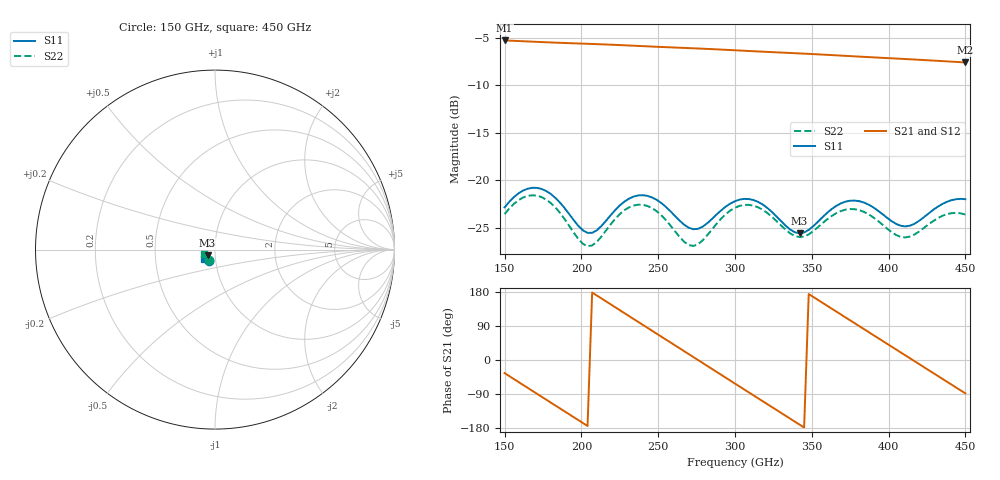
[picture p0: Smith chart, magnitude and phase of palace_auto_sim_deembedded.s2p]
! Created with skrf 1.11.0 (http://scikit-rf.org).
# GHz S DB R 50.0
!freq dBS11 angS11 dBS21 angS21 dBS12 angS12 dBS22 angS22
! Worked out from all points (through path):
!   101 points, 150 GHz to 450 GHz, reference 50 ohm
!   highest |S21| = -5.28 dB at 150 GHz (marker M1); lowest = -7.6 dB at 450 GHz (marker M2)
!   group delay of S21, straight-line fit = 7.16 ps
!   lowest |S11| = -25.6 dB at 342 GHz (marker M3), VSWR 1.11, Z = 45.9 - j2.96 ohm
!   |S11| at or under -10 dB: start of sweep to end of sweep
!   |S22| runs from -27.0 to -21.6 dB; largest |S21 - S12| = 6e-14
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150  -22.88 -117.9  -5.28 -34.6  -5.28 -34.6  -23.59 -121.1
162  -21.11 -126.9  -5.36 -65.7  -5.36 -65.7  -21.84 -131.6
174  -20.93 -140.9  -5.45 -96.7  -5.45 -96.7  -21.79 -146.9
186  -22.36 -152.0  -5.53 -127.6  -5.53 -127.6  -23.44 -158.9
201  -25.30 -146.9  -5.62 -166.4  -5.62 -166.4  -26.72 -152.3
216  -24.29 -128.0  -5.71 154.8  -5.71 154.8  -25.32 -132.1
231  -21.96 -133.1  -5.81 116.0  -5.81 116.0  -22.87 -139.6
252  -22.42 -151.5  -5.97 61.7  -5.97 61.7  -23.71 -160.2
264  -24.28 -152.5  -6.05 30.8  -6.05 30.8  -26.01 -160.0
276  -25.13 -140.2  -6.13 -0.2  -6.13 -0.2  -26.76 -143.1
288  -23.63 -132.4  -6.22 -31.3  -6.22 -31.3  -24.61 -135.1
300  -22.22 -137.4  -6.32 -62.3  -6.32 -62.3  -22.91 -142.2
318  -22.57 -151.5  -6.46 -108.6  -6.46 -108.6  -23.13 -158.7
342  -25.61 -142.2  -6.65 -170.5  -6.65 -170.5  -26.01 -153.0
351  -24.85 -132.2  -6.72 166.3  -6.72 166.3  -25.38 -144.7
366  -22.71 -132.3  -6.85 127.7  -6.85 127.7  -23.48 -146.1
378  -22.16 -140.5  -6.96 96.8  -6.96 96.8  -23.07 -154.8
390  -22.87 -147.5  -7.06 66.0  -7.06 66.0  -23.93 -162.2
402  -24.33 -146.4  -7.16 35.2  -7.16 35.2  -25.49 -161.1
423  -23.91 -129.3  -7.35 -18.8  -7.35 -18.8  -25.04 -144.8
438  -22.28 -131.5  -7.49 -57.3  -7.49 -57.3  -23.59 -148.7
450  -22.01 -138.0  -7.60 -88.1  -7.60 -88.1  -23.63 -156.0
